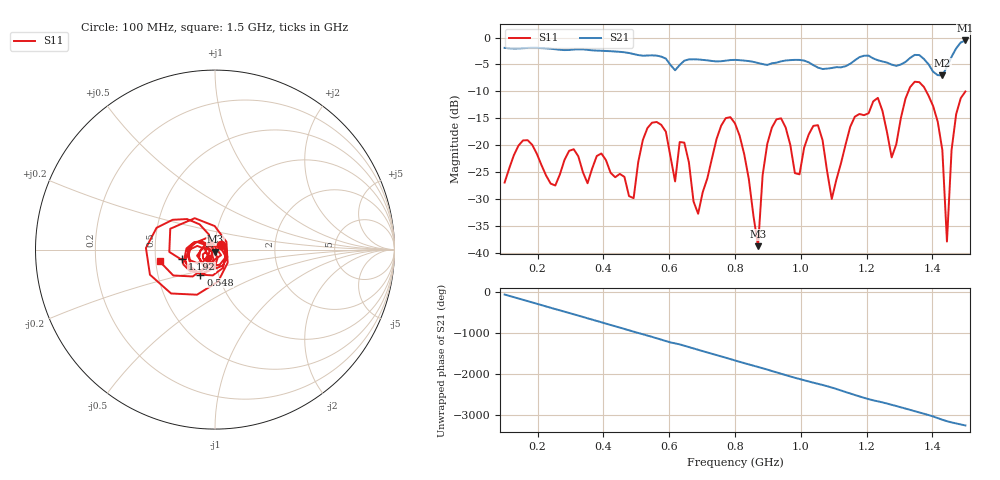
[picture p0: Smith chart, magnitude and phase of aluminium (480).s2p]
! NanoVNA-App
! Date: 2025-09-25 14:59:01
! Start: 100MHz Stop: 1,5GHz Points: 101
! S-Parameter data: F S11 S21 S12 S22
# Hz S RI R 50
!  Frequency  S11_Real  S11_Imag  S21_Real  S21_Imag  S12_Real  S12_Imag  S22_Real  S22_Imag
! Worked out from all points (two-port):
!   101 points, 100 MHz to 1.5 GHz, reference 50 ohm
!   highest |S21| = -0.54 dB at 1.5 GHz (marker M1); lowest = -7.0 dB at 1.43 GHz (marker M2)
!   |S21| within 3 dB of the highest: start of sweep to 575.8 MHz; 1.458 GHz to end of sweep (the widest 2 of 4)
!   lowest |S11| = -38.8 dB at 870 MHz (marker M3), VSWR 1.02, Z = 50.2 - j1.14 ohm
!   |S11| at or under -10 dB: start of sweep to 1.327 GHz; 1.381 GHz to end of sweep
!   S12 and S22 are empty: the file has one direction only
!   S11 on the Smith chart (normalised r, x): 100 MHz: 1.07, +0.06; 548 MHz: 0.82, -0.23; 1.192 GHz: 0.69, -0.07; 1.5 GHz: 0.52, -0.08
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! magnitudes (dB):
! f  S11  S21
! 100 MHz  -27.0  -1.9
! 156 MHz  -19.1  -2.0
! 338 MHz  -25.1  -2.2
! 492 MHz  -29.9  -3.1
! 548 MHz  -15.8  -3.3
! 576 MHz  -16.2  -3.5
! 646 MHz  -19.5  -4.3
! 688 MHz  -32.8  -4.1
! 800 MHz  -16.0  -4.1
! 870 MHz  -38.8  -4.7
! 912 MHz  -16.8  -4.8
! 996 MHz  -25.4  -4.2
! 1.038 GHz  -16.4  -5.1
! 1.094 GHz  -30.0  -5.7
! 1.192 GHz  -14.4  -3.4
! 1.234 GHz  -11.2  -4.2
! 1.276 GHz  -22.3  -5.0
! 1.346 GHz  -8.2  -3.2
! 1.43 GHz  -20.9  -7.0
! 1.444 GHz  -37.9  -5.4
! 1.458 GHz  -20.9  -3.6
! 1.5 GHz  -10.0  -0.5
